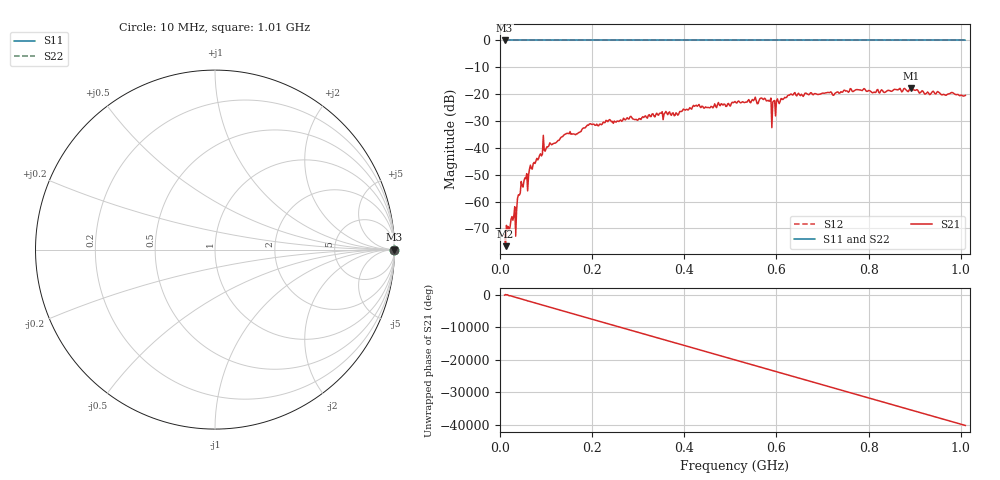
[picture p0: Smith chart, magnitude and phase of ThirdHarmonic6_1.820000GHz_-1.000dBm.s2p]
! 8/16/2025 10:03:31 PM
! C:\ANRITSUVNA\TEMP\TEMP.S2P
! CHANNEL.1
! TR.MEASUREMENT
! RAW.DATA
! RF.CORRECTION.OFF
! AVERAGING.OFF
! IF.BANDWIDTH: 5KHZ
! SWEEPTYPE:  FREQ.SWEEP(Linear)
! Reference Plane Port Info
! PORT:  PORT1  PORT2
! DISTANCE:  0  m  0  m
! TIME:  0  s  0  s
! PHASE.OFFSET:  0  deg.  0  deg.
! LOSS:  0  dB  0  dB
! REF.LOSS:  0  dB  0  dB
! REF.FREQ:  0  Hz  0  Hz
! Power Info
! POWER:  -20  dBm  -20  dBm
! EFF.POWER:  -20  dBm  -20  dBm
! SOURCE.ATTEN:  0  dB  0  dB
! TEST.ATTEN:  0  dB  0  dB
# GHZ S RI R 50.0
! FREQ.GHZ  S11RE  S11IM  S21RE  S21IM  S12RE  S12IM  S22RE  S22IM
!; PortSelection: Port_12
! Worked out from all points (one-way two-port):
!   501 points, 10 MHz to 1.01 GHz, reference 50 ohm
!   highest |S21| = -17.69 dB at 892 MHz (marker M1); lowest = -76.6 dB at 12 MHz (marker M2)
!   lowest |S11| = 0.0 dB at 10 MHz (marker M3)
!   |S11| at or under -10 dB: nowhere
!   |S22| runs from 0.0 to 0.0 dB; largest |S21 - S12| = 1.1
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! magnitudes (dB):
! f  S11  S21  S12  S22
! 10 MHz  0.0  -72.2  0.0  0.0
! 12 MHz  0.0  -76.6  0.0  0.0
! 28 MHz  0.0  -66.9  0.0  0.0
! 32 MHz  0.0  -61.9  0.0  0.0
! 38 MHz  0.0  -58.7  0.0  0.0
! 42 MHz  0.0  -57.6  0.0  0.0
! 50 MHz  0.0  -54.6  0.0  0.0
! 90 MHz  0.0  -43.0  0.0  0.0
! 142 MHz  0.0  -34.9  0.0  0.0
! 178 MHz  0.0  -33.1  0.0  0.0
! 234 MHz  0.0  -30.3  0.0  0.0
! 344 MHz  0.0  -27.8  0.0  0.0
! 510 MHz  0.0  -22.7  0.0  0.0
! 572 MHz  0.0  -22.0  0.0  0.0
! 584 MHz  0.0  -22.6  0.0  0.0
! 594 MHz  0.0  -22.5  0.0  0.0
! 596 MHz  0.0  -22.4  0.0  0.0
! 628 MHz  0.0  -20.4  0.0  0.0
! 678 MHz  0.0  -20.1  0.0  0.0
! 844 MHz  0.0  -18.6  0.0  0.0
! 892 MHz  0.0  -17.7  0.0  0.0
! 1.01 GHz  0.0  -20.5  0.0  0.0
